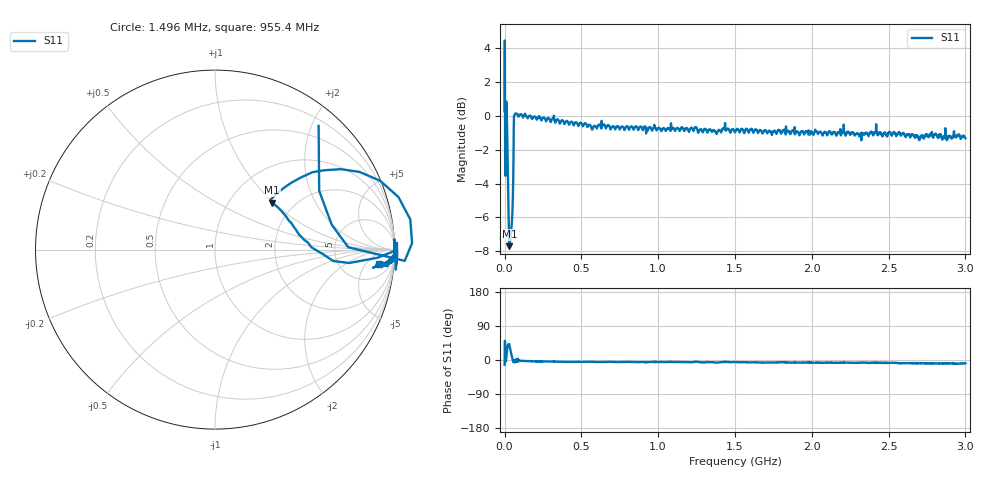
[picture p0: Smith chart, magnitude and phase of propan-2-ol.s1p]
# HZ S RI R 50
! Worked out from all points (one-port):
!   2020 points, 10 kHz to 3 GHz, reference 50 ohm
!   lowest |S11| = -7.7 dB at 31.21 MHz (marker M1), VSWR 2.40, Z = 77.9 + j49.1 ohm
!   |S11| at or under -10 dB: nowhere
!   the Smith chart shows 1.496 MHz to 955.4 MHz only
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10000  1.007 -0.2228
5953516  0.6506 0.1382
1.635467e7  0.806 0.4327
1.932643e7  0.6108 0.4421
2.378406e7  0.4275 0.3737
2.675582e7  0.3565 0.3225
3.121346e7  0.3186 0.2618
3.715698e7  0.3822 0.2005
4.310049e7  0.4379 0.1281
5.350164e7  0.5668 -0.00485
6.39028e7  1.004 -0.0257
7.133219e7  1.014 0.00131
7.578983e7  1.013 0.0365
1.887166e8  0.9907 -0.0619
3.759374e8  0.9662 -0.0792
5.750452e8  0.9175 -0.0785
7.503789e8  0.907 -0.0812
1.126306e9  0.9166 -0.0835
1.248148e9  0.9212 -0.0736
1.381877e9  0.8801 -0.1061
1.433883e9  0.9101 -0.0853
1.500748e9  0.8906 -0.0837
1.875189e9  0.8965 -0.1083
2.251117e9  0.8722 -0.107
2.625558e9  0.8687 -0.1322
2.885587e9  0.8479 -0.132
2.94205e9  0.8513 -0.1512
3e9  0.849 -0.1281
